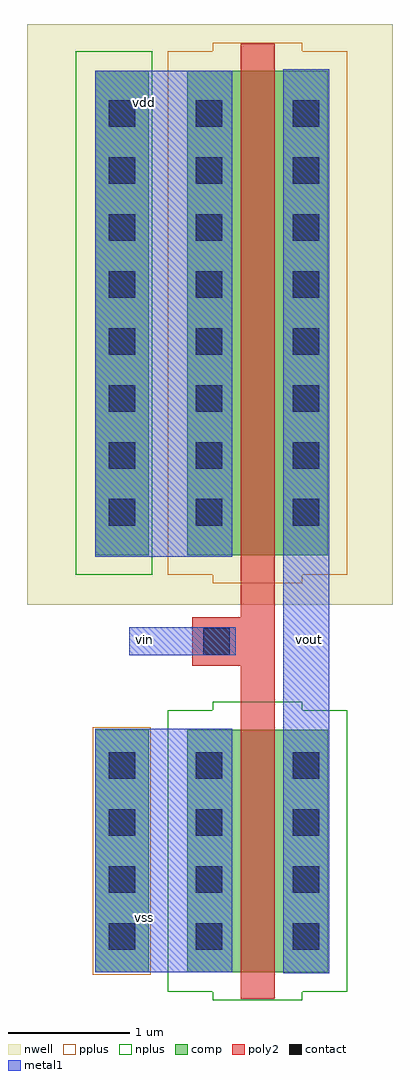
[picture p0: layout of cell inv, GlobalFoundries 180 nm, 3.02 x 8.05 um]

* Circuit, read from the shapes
.subckt inv vdd vin vout vss
XM1 vout vin vss vss nfet_03v3 w=2u l=0.28u
XM2 vout vin vdd vdd pfet_03v3 w=4u l=0.28u
.ends

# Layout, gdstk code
import gdstk
lib = gdstk.Library(unit=1e-6, precision=1e-09)
def R(c, l, rs):  # rectangles x0, y0, x1, y1
    for r in rs: c.add(gdstk.rectangle(r[:2], r[2:], *l))
def A(c, l, x, y, w, h, nx, ny, dx, dy):  # array of equal rectangles
    R(c, l, [(x+i*dx, y+j*dy, x+i*dx+w, y+j*dy+h) for i in range(nx) for j in range(ny)])
nwell = (21, 0)
comp = (22, 0)
poly2 = (30, 0)
pplus = (31, 0)
nplus = (32, 0)
contact = (33, 0)
metal1 = (34, 0)

inv = lib.new_cell('inv')
R(inv, nwell, [(2.52,4.19,5.535,8.985)])
R(inv, comp, [(3.08,1.16,3.52,3.16), (3.84,1.16,5,3.16), (3.08,4.6,3.52,8.6), (3.84,4.6,5,8.6)])
R(inv, poly2, [(4.28,0.94,4.56,3.69), (3.88,3.69,4.56,4.09), (4.28,4.09,4.56,8.82)])
R(inv, pplus, [(3.06,1.14,3.54,3.18), (4.05,4.37,4.79,4.44), (3.68,4.44,5.16,8.76), (4.05,8.76,4.79,8.83)])
R(inv, nplus, [(4.05,0.93,4.79,1), (3.68,1,5.16,3.32), (4.05,3.32,4.79,3.39), (2.92,4.44,3.55,8.76)])
A(inv, contact, 3.19, 1.345, 0.22, 0.22, 1, 4, 0, 0.47)
A(inv, contact, 3.91, 1.345, 0.22, 0.22, 1, 4, 0, 0.47)
A(inv, contact, 4.71, 1.345, 0.22, 0.22, 1, 4, 0, 0.47)
A(inv, contact, 3.19, 4.845, 0.22, 0.22, 1, 8, 0, 0.47)
A(inv, contact, 3.91, 4.845, 0.22, 0.22, 1, 8, 0, 0.47)
A(inv, contact, 4.71, 4.845, 0.22, 0.22, 1, 8, 0, 0.47)
R(inv, contact, [(3.97,3.78,4.19,4)])
R(inv, metal1, [(4.63,1.15,5.01,8.61), (3.08,1.16,4.21,3.17), (3.36,3.775,4.24,4.005), (3.08,4.59,4.21,8.6)])
inv.add(gdstk.Label('vss', (3.485,1.615), layer=34, texttype=10))
inv.add(gdstk.Label('vdd', (3.485,8.34), layer=34, texttype=10))
inv.add(gdstk.Label('vout', (4.85,3.905), layer=34, texttype=10))
inv.add(gdstk.Label('vin', (3.485,3.905), layer=34, texttype=10))

lib.write_gds('inv.gds')
